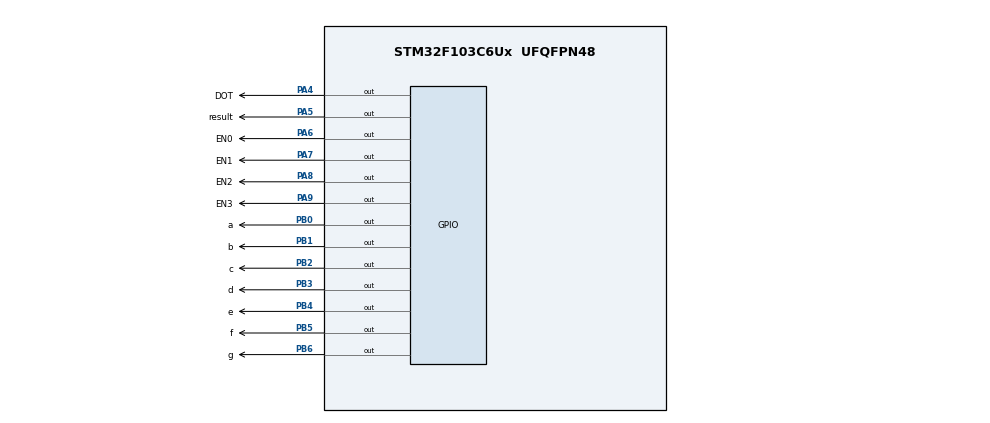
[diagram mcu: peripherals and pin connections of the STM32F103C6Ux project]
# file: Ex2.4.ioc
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Mcu.Family=STM32F1
Mcu.Name=STM32F103C6Ux
Mcu.Package=UFQFPN48
NVIC.PriorityGroup=NVIC_PRIORITYGROUP_4
NVIC.TIM2_IRQn=true\:0\:0\:false\:false\:true\:true\:true
PA4.GPIO_Label=DOT
PA4.Signal=GPIO_Output
PA5.GPIO_Label=result
PA5.Signal=GPIO_Output
PA6.GPIO_Label=EN0
PA6.Signal=GPIO_Output
PA7.GPIO_Label=EN1
PA7.Signal=GPIO_Output
PA8.GPIO_Label=EN2
PA8.Signal=GPIO_Output
PA9.GPIO_Label=EN3
PA9.Signal=GPIO_Output
PB0.GPIO_Label=a
PB0.Signal=GPIO_Output
PB1.GPIO_Label=b
PB1.Signal=GPIO_Output
PB2.GPIO_Label=c
PB2.Signal=GPIO_Output
PB3.GPIO_Label=d
PB3.Signal=GPIO_Output
PB4.GPIO_Label=e
PB4.Signal=GPIO_Output
PB5.GPIO_Label=f
PB5.Signal=GPIO_Output
PB6.GPIO_Label=g
PB6.Signal=GPIO_Output
ProjectManager.HeapSize=0x200
ProjectManager.StackSize=0x400
ProjectManager.TargetToolchain=STM32CubeIDE
RCC.APB1Freq_Value=8000000
RCC.APB2Freq_Value=8000000
TIM2.Period=9
TIM2.Prescaler=7999
VP_SYS_VS_ND.Mode=No_Debug
VP_TIM2_VS_ClockSourceINT.Mode=Internal
board=custom

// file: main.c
/* USER CODE BEGIN Header */
/**
  ******************************************************************************
  * @file           : main.c
  * @brief          : Main program body
  ******************************************************************************
  * @attention
  *
  * <h2><center>&copy; Copyright (c) 2022 STMicroelectronics.
  * All rights reserved.</center></h2>
  *
  * This software component is licensed by ST under BSD 3-Clause license,
  * the "License"; You may not use this file except in compliance with the
  * License. You may obtain a copy of the License at:
  *                        opensource.org/licenses/BSD-3-Clause
  *
  ******************************************************************************
  */
/* USER CODE END Header */
#include "main.h"
#include "timer.h"

TIM_HandleTypeDef htim2;

void SystemClock_Config(void);
static void MX_GPIO_Init(void);
static void MX_TIM2_Init(void);

/* USER CODE BEGIN 0 */
void control7SEG(int index) {
	 if(index==0) /* so 0 */
	{
		HAL_GPIO_WritePin(a_GPIO_Port, a_Pin, RESET);
		HAL_GPIO_WritePin(b_GPIO_Port, b_Pin, RESET);
		HAL_GPIO_WritePin(c_GPIO_Port, c_Pin, RESET);
		HAL_GPIO_WritePin(d_GPIO_Port, d_Pin, RESET);
		HAL_GPIO_WritePin(e_GPIO_Port, e_Pin, RESET);
		HAL_GPIO_WritePin(f_GPIO_Port, f_Pin, RESET);
		HAL_GPIO_WritePin(g_GPIO_Port, g_Pin, SET);

	}
	 if(index==1)
	{
		HAL_GPIO_WritePin(a_GPIO_Port, a_Pin, SET);
		HAL_GPIO_WritePin(b_GPIO_Port, b_Pin, RESET);
		HAL_GPIO_WritePin(c_GPIO_Port, c_Pin, RESET);
		HAL_GPIO_WritePin(d_GPIO_Port, d_Pin, SET);
		HAL_GPIO_WritePin(e_GPIO_Port, e_Pin, SET);
		HAL_GPIO_WritePin(f_GPIO_Port, f_Pin, SET);
		HAL_GPIO_WritePin(g_GPIO_Port, g_Pin, SET);

	}
	  if(index==2)
	{
		HAL_GPIO_WritePin(a_GPIO_Port, a_Pin, RESET);
		HAL_GPIO_WritePin(b_GPIO_Port, b_Pin, RESET);
		HAL_GPIO_WritePin(c_GPIO_Port, c_Pin, SET);
		HAL_GPIO_WritePin(d_GPIO_Port, d_Pin, RESET);
		HAL_GPIO_WritePin(e_GPIO_Port, e_Pin, RESET);
		HAL_GPIO_WritePin(f_GPIO_Port, f_Pin, SET);
		HAL_GPIO_WritePin(g_GPIO_Port, g_Pin, RESET);

	}
	 if(index==3)
	{
		HAL_GPIO_WritePin(a_GPIO_Port, a_Pin, RESET);
		HAL_GPIO_WritePin(b_GPIO_Port, b_Pin, RESET);
		HAL_GPIO_WritePin(c_GPIO_Port, c_Pin, RESET);
		HAL_GPIO_WritePin(d_GPIO_Port, d_Pin, RESET);
		HAL_GPIO_WritePin(e_GPIO_Port, e_Pin, SET);
		HAL_GPIO_WritePin(f_GPIO_Port, f_Pin, SET);
		HAL_GPIO_WritePin(g_GPIO_Port, g_Pin, RESET);

	}
	 if(index==4)
	{
		HAL_GPIO_WritePin(a_GPIO_Port, a_Pin, SET);
		HAL_GPIO_WritePin(b_GPIO_Port, b_Pin, RESET);
		HAL_GPIO_WritePin(c_GPIO_Port, c_Pin, RESET);
		HAL_GPIO_WritePin(d_GPIO_Port, d_Pin, SET);
		HAL_GPIO_WritePin(e_GPIO_Port, e_Pin, SET);
		HAL_GPIO_WritePin(f_GPIO_Port, f_Pin, RESET);
		HAL_GPIO_WritePin(g_GPIO_Port, g_Pin, RESET);

	}
	  if(index==5)
		{
		HAL_GPIO_WritePin(a_GPIO_Port, a_Pin, RESET);
		HAL_GPIO_WritePin(b_GPIO_Port, b_Pin, SET);
		HAL_GPIO_WritePin(c_GPIO_Port, c_Pin, RESET);
		HAL_GPIO_WritePin(d_GPIO_Port, d_Pin, RESET);
		HAL_GPIO_WritePin(e_GPIO_Port, e_Pin, SET);
		HAL_GPIO_WritePin(f_GPIO_Port, f_Pin, RESET);
		HAL_GPIO_WritePin(g_GPIO_Port, g_Pin, RESET);

	}
	  if(index==6)
	{
		HAL_GPIO_WritePin(a_GPIO_Port, a_Pin, RESET);
		HAL_GPIO_WritePin(b_GPIO_Port, b_Pin, SET);
		HAL_GPIO_WritePin(c_GPIO_Port, c_Pin, RESET);
		HAL_GPIO_WritePin(d_GPIO_Port, d_Pin, RESET);
		HAL_GPIO_WritePin(e_GPIO_Port, e_Pin, RESET);
		HAL_GPIO_WritePin(f_GPIO_Port, f_Pin, RESET);
		HAL_GPIO_WritePin(g_GPIO_Port, g_Pin, RESET);

	}
	  if(index==7)
	{
		HAL_GPIO_WritePin(a_GPIO_Port, a_Pin, RESET);
		HAL_GPIO_WritePin(b_GPIO_Port, b_Pin, RESET);
		HAL_GPIO_WritePin(c_GPIO_Port, c_Pin, RESET);
		HAL_GPIO_WritePin(d_GPIO_Port, d_Pin, SET);
		HAL_GPIO_WritePin(e_GPIO_Port, e_Pin, SET);
		HAL_GPIO_WritePin(f_GPIO_Port, f_Pin, SET);
		HAL_GPIO_WritePin(g_GPIO_Port, g_Pin, SET);

	}   if(index==8) {
		HAL_GPIO_WritePin(a_GPIO_Port, a_Pin, RESET);
		HAL_GPIO_WritePin(b_GPIO_Port, b_Pin, RESET);
		HAL_GPIO_WritePin(c_GPIO_Port, c_Pin, RESET);
		HAL_GPIO_WritePin(d_GPIO_Port, d_Pin, RESET);
		HAL_GPIO_WritePin(e_GPIO_Port, e_Pin, RESET);
		HAL_GPIO_WritePin(f_GPIO_Port, f_Pin, RESET);
		HAL_GPIO_WritePin(g_GPIO_Port, g_Pin, RESET);

	}  if(index==9) {
		HAL_GPIO_WritePin(a_GPIO_Port, a_Pin, RESET);
		HAL_GPIO_WritePin(b_GPIO_Port, b_Pin, RESET);
		HAL_GPIO_WritePin(c_GPIO_Port, c_Pin, RESET);
		HAL_GPIO_WritePin(d_GPIO_Port, d_Pin, RESET);
		HAL_GPIO_WritePin(e_GPIO_Port, e_Pin, SET);
		HAL_GPIO_WritePin(f_GPIO_Port, f_Pin, RESET);
		HAL_GPIO_WritePin(g_GPIO_Port, g_Pin, RESET);

	}

}
const int MAX_LED=4;
int index_led=0;
int led_buffer[4]={0 , 1, 2, 3 };
void update7SEG(int index_led)
{	setTimer1(50);
	switch(index_led)
	{
	setTimer1(50);
	case 0:
		setTimer1(50);
		HAL_GPIO_TogglePin(EN0_GPIO_Port,EN0_Pin);
		control7SEG(0);

	case 1:
		setTimer1(50);
		HAL_GPIO_TogglePin(EN1_GPIO_Port,EN1_Pin);
		control7SEG(1);

	case 2:
		setTimer1(50);
		HAL_GPIO_TogglePin(EN2_GPIO_Port,EN2_Pin);
		control7SEG(2);

	case 3:
		setTimer1(50);
		HAL_GPIO_TogglePin(EN3_GPIO_Port,EN3_Pin);
		control7SEG(3);
	default:
		break;
	}

}
/* USER CODE END 0 */

int main(void)
{

  /* MCU Configuration--------------------------------------------------------*/

  /* Reset of all peripherals, Initializes the Flash interface and the Systick. */
  HAL_Init();

  /* Configure the system clock */
  SystemClock_Config();

  /* Initialize all configured peripherals */
  MX_GPIO_Init();
  MX_TIM2_Init();
  /* USER CODE BEGIN 2 */
  HAL_TIM_Base_Start_IT(&htim2);
  /* USER CODE END 2 */
  setTimer1(50);
  setTimer2(100);
  /* Infinite loop */
  while (1)
  {
	  setTimer1(50);
	  setTimer2(100);
		  update7SEG(0);
	  if(timer2_flag<=0)
	  {
		  HAL_GPIO_TogglePin(DOT_GPIO_Port,DOT_Pin);
		  setTimer2(100);
	  }
  }
}

void SystemClock_Config(void)
{
  RCC_OscInitTypeDef RCC_OscInitStruct = {0};
  RCC_ClkInitTypeDef RCC_ClkInitStruct = {0};

  /** Initializes the RCC Oscillators according to the specified parameters
  * in the RCC_OscInitTypeDef structure.
  */
  RCC_OscInitStruct.OscillatorType = RCC_OSCILLATORTYPE_HSI;
  RCC_OscInitStruct.HSIState = RCC_HSI_ON;
  RCC_OscInitStruct.HSICalibrationValue = RCC_HSICALIBRATION_DEFAULT;
  RCC_OscInitStruct.PLL.PLLState = RCC_PLL_NONE;
  if (HAL_RCC_OscConfig(&RCC_OscInitStruct) != HAL_OK)
  {
    Error_Handler();
  }
  /** Initializes the CPU, AHB and APB buses clocks
  */
  RCC_ClkInitStruct.ClockType = RCC_CLOCKTYPE_HCLK|RCC_CLOCKTYPE_SYSCLK
                              |RCC_CLOCKTYPE_PCLK1|RCC_CLOCKTYPE_PCLK2;
  RCC_ClkInitStruct.SYSCLKSource = RCC_SYSCLKSOURCE_HSI;
  RCC_ClkInitStruct.AHBCLKDivider = RCC_SYSCLK_DIV1;
  RCC_ClkInitStruct.APB1CLKDivider = RCC_HCLK_DIV1;
  RCC_ClkInitStruct.APB2CLKDivider = RCC_HCLK_DIV1;

  if (HAL_RCC_ClockConfig(&RCC_ClkInitStruct, FLASH_LATENCY_0) != HAL_OK)
  {
    Error_Handler();
  }
}

static void MX_TIM2_Init(void)
{

  TIM_ClockConfigTypeDef sClockSourceConfig = {0};
  TIM_MasterConfigTypeDef sMasterConfig = {0};

  htim2.Instance = TIM2;
  htim2.Init.Prescaler = 7999;
  htim2.Init.CounterMode = TIM_COUNTERMODE_UP;
  htim2.Init.Period = 9;
  htim2.Init.ClockDivision = TIM_CLOCKDIVISION_DIV1;
  htim2.Init.AutoReloadPreload = TIM_AUTORELOAD_PRELOAD_DISABLE;
  if (HAL_TIM_Base_Init(&htim2) != HAL_OK)
  {
    Error_Handler();
  }
  sClockSourceConfig.ClockSource = TIM_CLOCKSOURCE_INTERNAL;
  if (HAL_TIM_ConfigClockSource(&htim2, &sClockSourceConfig) != HAL_OK)
  {
    Error_Handler();
  }
  sMasterConfig.MasterOutputTrigger = TIM_TRGO_RESET;
  sMasterConfig.MasterSlaveMode = TIM_MASTERSLAVEMODE_DISABLE;
  if (HAL_TIMEx_MasterConfigSynchronization(&htim2, &sMasterConfig) != HAL_OK)
  {
    Error_Handler();
  }

}

static void MX_GPIO_Init(void)
{
  GPIO_InitTypeDef GPIO_InitStruct = {0};

  /* GPIO Ports Clock Enable */
  __HAL_RCC_GPIOA_CLK_ENABLE();
  __HAL_RCC_GPIOB_CLK_ENABLE();

  /*Configure GPIO pin Output Level */
  HAL_GPIO_WritePin(GPIOA, DOT_Pin|result_Pin|EN0_Pin|EN1_Pin
                          |EN2_Pin|EN3_Pin, GPIO_PIN_RESET);

  /*Configure GPIO pin Output Level */
  HAL_GPIO_WritePin(GPIOB, a_Pin|b_Pin|c_Pin|d_Pin
                          |e_Pin|f_Pin|g_Pin, GPIO_PIN_RESET);

  /*Configure GPIO pins : DOT_Pin result_Pin EN0_Pin EN1_Pin
                           EN2_Pin EN3_Pin */
  GPIO_InitStruct.Pin = DOT_Pin|result_Pin|EN0_Pin|EN1_Pin
                          |EN2_Pin|EN3_Pin;
  GPIO_InitStruct.Mode = GPIO_MODE_OUTPUT_PP;
  GPIO_InitStruct.Pull = GPIO_NOPULL;
  GPIO_InitStruct.Speed = GPIO_SPEED_FREQ_LOW;
  HAL_GPIO_Init(GPIOA, &GPIO_InitStruct);

  /*Configure GPIO pins : a_Pin b_Pin c_Pin d_Pin
                           e_Pin f_Pin g_Pin */
  GPIO_InitStruct.Pin = a_Pin|b_Pin|c_Pin|d_Pin
                          |e_Pin|f_Pin|g_Pin;
  GPIO_InitStruct.Mode = GPIO_MODE_OUTPUT_PP;
  GPIO_InitStruct.Pull = GPIO_NOPULL;
  GPIO_InitStruct.Speed = GPIO_SPEED_FREQ_LOW;
  HAL_GPIO_Init(GPIOB, &GPIO_InitStruct);

}

/* USER CODE BEGIN 4 */
void HAL_TIM_PeriodElapsedCallback(TIM_HandleTypeDef *htim)
{
	timerRun();
}
/* USER CODE END 4 */

void Error_Handler(void)
{
  __disable_irq();
  while (1)
  {
  }
}

/************************ (C) COPYRIGHT STMicroelectronics *****END OF FILE****/
